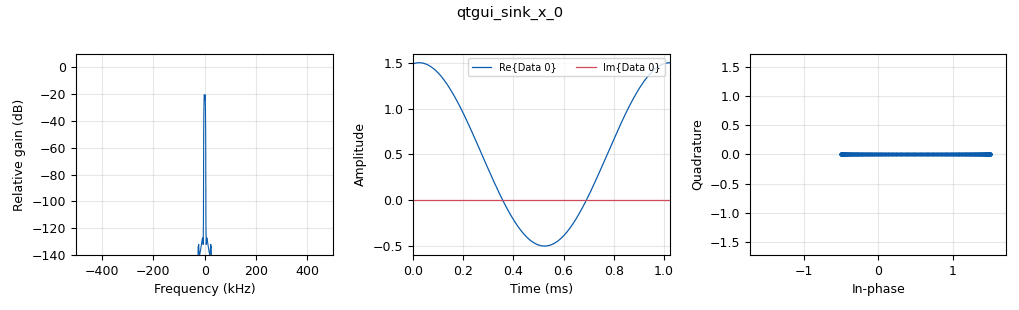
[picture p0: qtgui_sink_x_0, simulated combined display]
options:
  parameters:
    author: operateur
    generate_options: qt_gui
    generator_class_name: PythonQtGuiGenerator
    generator_module: gnuradio.grc.workflows.python_qt_gui
    id: mon_AM
    output_language: python
    title: Not titled yet
  states: {}

blocks:
- name: amp1
  id: variable_qtgui_range
  parameters:
    start: '0'
    step: '0.05'
    stop: '1'
    value: '0.5'
  states: {}
- name: amp2
  id: variable_qtgui_range
  parameters:
    start: '0'
    step: '0.05'
    stop: '1'
    value: '0.5'
  states: {}
- name: center_freq
  id: variable
  parameters:
    value: 1*10**9
  states: {}
- name: freq1
  id: variable_qtgui_range
  parameters:
    start: '1000'
    step: '100'
    stop: '5000'
    value: '1000'
  states: {}
- name: freq2
  id: variable_qtgui_range
  parameters:
    start: '1000'
    step: '100'
    stop: '5000'
    value: '1000'
  states: {}
- name: samp_rate
  id: variable
  parameters:
    value: 1*10**6
  states: {}
- name: usrp
  id: variable
  parameters:
    value: '"serial=322F67E"'
  states: {}
- name: analog_const_source_x_0
  id: analog_const_source_x
  parameters:
    const: '0.5'
    type: float
  states: {}
- name: analog_sig_source_x_0
  id: analog_sig_source_x
  parameters:
    amp: amp1
    freq: freq1
    offset: '0'
    phase: '0'
    samp_rate: samp_rate
    type: float
    waveform: analog.GR_COS_WAVE
  states: {}
- name: analog_sig_source_x_1
  id: analog_sig_source_x
  parameters:
    amp: amp2
    freq: freq2
    offset: '0'
    phase: '0'
    samp_rate: samp_rate
    type: float
    waveform: analog.GR_COS_WAVE
  states: {}
- name: audio_sink_0
  id: audio_sink
  parameters:
    samp_rate: samp_rate
  states: {}
- name: blocks_add_xx_0
  id: blocks_add_xx
  parameters:
    num_inputs: '3'
    type: float
  states: {}
- name: blocks_complex_to_float_0
  id: blocks_complex_to_float
  parameters: {}
  states: {}
- name: blocks_float_to_complex_0
  id: blocks_float_to_complex
  parameters: {}
  states: {}
- name: blocks_null_source_0
  id: blocks_null_source
  parameters:
    type: float
  states: {}
- name: qtgui_sink_x_0
  id: qtgui_sink_x
  parameters:
    bw: samp_rate
    fc: '0'
    fftsize: '1024'
    type: complex
  states: {}
- name: qtgui_sink_x_1
  id: qtgui_sink_x
  parameters:
    bw: samp_rate
    fc: '0'
    fftsize: '1024'
    type: complex
  states: {}
- name: uhd_usrp_sink_0
  id: uhd_usrp_sink
  parameters:
    ant0: '"TX/RX"'
    center_freq0: center_freq
    dev_addr: usrp
    gain0: '40'
    samp_rate: samp_rate
    sync: sync
    type: fc32
  states: {}
- name: uhd_usrp_source_0
  id: uhd_usrp_source
  parameters:
    ant0: '"RX2"'
    center_freq0: center_freq
    dev_addr: usrp
    rx_agc0: Enabled
    samp_rate: samp_rate
    sync: sync
    type: fc32
  states: {}

connections:
- [analog_const_source_x_0, '0', blocks_add_xx_0, '2']
- [analog_sig_source_x_0, '0', blocks_add_xx_0, '0']
- [analog_sig_source_x_1, '0', blocks_add_xx_0, '1']
- [blocks_add_xx_0, '0', blocks_float_to_complex_0, '0']
- [blocks_complex_to_float_0, '0', audio_sink_0, '0']
- [blocks_float_to_complex_0, '0', qtgui_sink_x_0, '0']
- [blocks_float_to_complex_0, '0', uhd_usrp_sink_0, '0']
- [blocks_null_source_0, '0', blocks_float_to_complex_0, '1']
- [uhd_usrp_source_0, '0', blocks_complex_to_float_0, '0']
- [uhd_usrp_source_0, '0', qtgui_sink_x_1, '0']

metadata:
  file_format: 1
  grc_version: v3.11.0.0git-1029-g3c48f5e2
